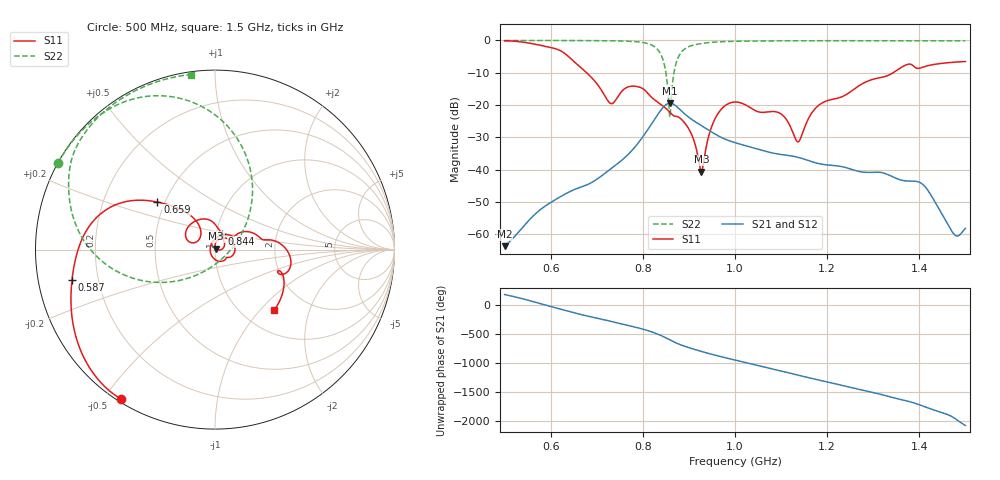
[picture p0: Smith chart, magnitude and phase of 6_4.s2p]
! TOUCHSTONE file generated by CST MICROWAVE STUDIO
! Date and time: Wed Oct 28 19:14:16 2020
! Project name: Scenario_1_Circular_Tissue_out_of_Line.cst
! Parameters = {dy1=-259.295; L_HA=400; MT=2.54; Rad_Dielectric=30; Rad_Lower=7.3; Rad_Upper=30; a_HA=580; a_WG=246; b_HA=500; b_WG=121; c_HA=0; c_WG=187; d_feed=85; dx1=693; h_feed=15; h_lower=18; h_upper=40}
! Header version: 2018
! Port assignment regex: !\s*Touchstone port\s*([0-9]+)\s*=\s*(CST MWS port|CST DS port)\s*([0-9]+|Zmin|Zmax)\s*\(\"(.*)\"\)(\s*mode\s*([0-9]+))?.*
! Touchstone port assignment:
! Touchstone port 1 = CST MWS port 1 ("")
! Touchstone port 2 = CST MWS port 2 ("")
# GHz S DB R 50
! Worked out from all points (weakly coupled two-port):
!   1001 points, 500 MHz to 1.5 GHz, reference 50 ohm
!   highest |S21| = -19.41 dB at 859 MHz (marker M1); lowest = -63.7 dB at 500 MHz (marker M2)
!   lowest |S11| = -40.7 dB at 927 MHz (marker M3), VSWR 1.02, Z = 50.7 + j0.603 ohm
!   |S11| at or under -10 dB: 678 MHz to 1.343 GHz (665.2 MHz wide, 65.8 % of centre)
!   |S22| runs from -23.7 to 0.0 dB; largest |S21 - S12| = 2.5e-05
!   S11 on the Smith chart (normalised r, x): 500 MHz: 0.01, -0.55; 587 MHz: 0.10, -0.10; 659 MHz: 0.46, +0.29; 844 MHz: 1.07, +0.19; 1.5 GHz: 1.38, -1.20
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0.5  -0.15 -122.3  -63.67 178.8  -63.67 178.8  -0.01 151.1
0.587  -1.78 -168.1  -51.36 1.3  -51.36 1.3  -0.02 145.1
0.63  -3.96 158.5  -47.64 -91.3  -47.64 -91.3  -0.03 141.7
0.659  -7.61 140.5  -45.74 -152.5  -45.74 -152.5  -0.04 139.1
0.667  -8.61 137.0  -45.33 -168.2  -45.33 -168.2  -0.04 138.4
0.73  -19.51 142.7  -39.80 78.3  -39.80 78.3  -0.11 130.9
0.778  -14.14 136.3  -33.79 -11.6  -33.79 -11.6  -0.32 121.0
0.834  -19.28 75.0  -22.60 -148.5  -22.60 -148.5  -3.14 84.7
0.844  -20.33 65.7  -20.73 176.2  -20.73 176.2  -6.11 66.8
0.859  -22.28 51.2  -19.41 115.9  -19.41 115.9  -23.69 -60.0
0.879  -23.87 34.2  -21.20 42.3  -21.20 42.3  -4.61 -170.0
0.905  -28.86 0.9  -24.34 -28.2  -24.34 -28.2  -1.64 164.9
0.927  -40.65 39.8  -26.36 -80.6  -26.36 -80.6  -0.95 155.6
0.957  -24.14 68.9  -29.01 -146.1  -29.01 -146.1  -0.50 147.7
1  -19.06 4.4  -31.64 130.6  -31.64 130.6  -0.27 140.3
1.098  -22.59 -61.8  -35.27 -54.5  -35.27 -54.5  -0.13 129.9
1.136  -31.39 -176.0  -36.15 -127.9  -36.15 -127.9  -0.11 126.7
1.167  -22.37 75.7  -37.55 173.4  -37.55 173.4  -0.09 124.2
1.334  -10.73 10.8  -41.66 -139.3  -41.66 -139.3  -0.09 111.5
1.405  -8.40 -18.2  -44.28 65.6  -44.28 65.6  -0.10 105.9
1.475  -6.74 -38.5  -59.92 -143.2  -59.87 -143.3  -0.12 100.1
1.5  -6.52 -45.6  -58.14 84.2  -57.97 84.3  -0.13 97.9
